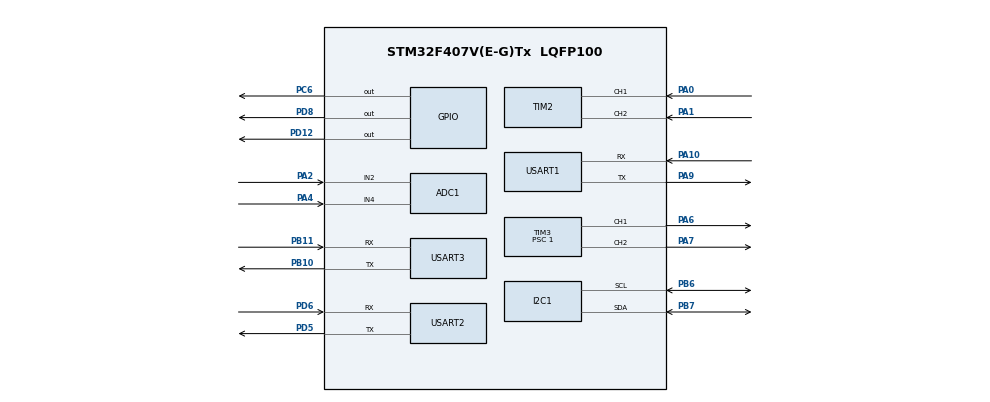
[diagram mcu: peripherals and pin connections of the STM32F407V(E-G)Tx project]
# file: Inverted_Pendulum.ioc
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ADC1.Channel-0\#ChannelRegularConversion=ADC_CHANNEL_2
ADC1.Channel-1\#ChannelRegularConversion=ADC_CHANNEL_4
ADC1.ContinuousConvMode=ENABLE
ADC1.DMAContinuousRequests=ENABLE
ADC1.NbrOfConversion=2
ADC1.NbrOfConversionFlag=1
ADC1.Rank-0\#ChannelRegularConversion=1
ADC1.Rank-1\#ChannelRegularConversion=2
ADC1.SamplingTime-0\#ChannelRegularConversion=ADC_SAMPLETIME_480CYCLES
ADC1.SamplingTime-1\#ChannelRegularConversion=ADC_SAMPLETIME_480CYCLES
ADC1.ScanConvMode=ENABLE
ADC1.master=1
Dma.ADC1.0.Direction=DMA_PERIPH_TO_MEMORY
Dma.ADC1.0.FIFOMode=DMA_FIFOMODE_DISABLE
Dma.ADC1.0.Instance=DMA2_Stream0
Dma.ADC1.0.MemDataAlignment=DMA_MDATAALIGN_HALFWORD
Dma.ADC1.0.MemInc=DMA_MINC_ENABLE
Dma.ADC1.0.Mode=DMA_CIRCULAR
Dma.ADC1.0.PeriphDataAlignment=DMA_PDATAALIGN_HALFWORD
Dma.ADC1.0.PeriphInc=DMA_PINC_DISABLE
Dma.ADC1.0.Priority=DMA_PRIORITY_LOW
Dma.Request0=ADC1
FREERTOS.Tasks01=defaultTask,0,128,StartDefaultTask,Default,NULL,Dynamic,NULL,NULL;Usart1_tx,-3,128,usart1_tx_f,Default,NULL,Dynamic,NULL,NULL;Usart1_rx,-3,128,usart1_rx_f,Default,NULL,Dynamic,NULL,NULL;Usart2_tx,-3,128,usart2_tx_f,Default,NULL,Dynamic,NULL,NULL;Usart2_rx,-3,128,usart2_rx_f,Default,NULL,Dynamic,NULL,NULL;Usart3_tx,-3,128,usart3_tx_f,Default,NULL,Dynamic,NULL,NULL;Usart3_rx,-3,128,usart3_rx_f,Default,NULL,Dynamic,NULL,NULL;OLED,-3,128,oled_f,Default,NULL,Dynamic,NULL,NULL;Angle_sensor,-3,128,angle_sensor_f,Default,NULL,Dynamic,NULL,NULL;Motor_run,-3,128,motor_run_f,Default,NULL,Dynamic,NULL,NULL;Motor_sensor,-3,128,motor_sensor_f,Default,NULL,Dynamic,NULL,NULL;Balance,-3,128,balance_f,Default,NULL,Dynamic,NULL,NULL
FREERTOS.configCHECK_FOR_STACK_OVERFLOW=2
FREERTOS.configGENERATE_RUN_TIME_STATS=1
FREERTOS.configRECORD_STACK_HIGH_ADDRESS=1
FREERTOS.configUSE_COUNTING_SEMAPHORES=1
FREERTOS.configUSE_MALLOC_FAILED_HOOK=1
FREERTOS.configUSE_STATS_FORMATTING_FUNCTIONS=1
FREERTOS.configUSE_TRACE_FACILITY=1
Mcu.Family=STM32F4
Mcu.Name=STM32F407V(E-G)Tx
Mcu.Package=LQFP100
NVIC.DMA2_Stream0_IRQn=true\:5\:0\:false\:false\:true\:true\:false\:true\:true
NVIC.PriorityGroup=NVIC_PRIORITYGROUP_4
NVIC.TIM1_UP_TIM10_IRQn=true\:15\:0\:false\:false\:true\:false\:false\:true\:true
NVIC.TimeBase=TIM1_UP_TIM10_IRQn
NVIC.TimeBaseIP=TIM1
PA0-WKUP.Signal=S_TIM2_CH1_ETR
PA1.Signal=S_TIM2_CH2
PA10.Mode=Asynchronous
PA10.Signal=USART1_RX
PA13.Mode=Serial_Wire
PA13.Signal=SYS_JTMS-SWDIO
PA14.Mode=Serial_Wire
PA14.Signal=SYS_JTCK-SWCLK
PA2.Signal=ADCx_IN2
PA4.Signal=ADCx_IN4
PA6.Signal=S_TIM3_CH1
PA7.Signal=S_TIM3_CH2
PA9.Mode=Asynchronous
PA9.Signal=USART1_TX
PB10.Mode=Asynchronous
PB10.Signal=USART3_TX
PB11.Mode=Asynchronous
PB11.Signal=USART3_RX
PB6.Mode=I2C
PB6.Signal=I2C1_SCL
PB7.Mode=I2C
PB7.Signal=I2C1_SDA
PC6.Signal=GPIO_Output
PD12.Signal=GPIO_Output
PD5.Mode=Asynchronous
PD5.Signal=USART2_TX
PD6.Mode=Asynchronous
PD6.Signal=USART2_RX
PD8.Signal=GPIO_Output
PH0-OSC_IN.Mode=HSE-External-Oscillator
PH0-OSC_IN.Signal=RCC_OSC_IN
PH1-OSC_OUT.Mode=HSE-External-Oscillator
PH1-OSC_OUT.Signal=RCC_OSC_OUT
ProjectManager.HeapSize=0x200
ProjectManager.StackSize=0x400
ProjectManager.TargetToolchain=MDK-ARM V5.32
RCC.48MHZClocksFreq_Value=84000000
RCC.AHBFreq_Value=168000000
RCC.APB1CLKDivider=RCC_HCLK_DIV4
RCC.APB1Freq_Value=42000000
RCC.APB1TimFreq_Value=84000000
RCC.APB2CLKDivider=RCC_HCLK_DIV2
RCC.APB2Freq_Value=84000000
RCC.APB2TimFreq_Value=168000000
RCC.CortexFreq_Value=168000000
RCC.HCLKFreq_Value=168000000
RCC.HSE_VALUE=8000000
RCC.HSI_VALUE=16000000
RCC.LSE_VALUE=32768
RCC.PLLM=4
RCC.PLLN=168
RCC.PLLSourceVirtual=RCC_PLLSOURCE_HSE
RCC.SYSCLKFreq_VALUE=168000000
RCC.SYSCLKSource=RCC_SYSCLKSOURCE_PLLCLK
RCC.VCOOutputFreq_Value=336000000
SH.ADCx_IN2.0=ADC1_IN2,IN2
SH.ADCx_IN4.0=ADC1_IN4,IN4
SH.S_TIM2_CH1_ETR.0=TIM2_CH1,Encoder_Interface
SH.S_TIM2_CH2.0=TIM2_CH2,Encoder_Interface
SH.S_TIM3_CH1.0=TIM3_CH1,PWM Generation1 CH1
SH.S_TIM3_CH2.0=TIM3_CH2,PWM Generation2 CH2
TIM2.EncoderMode=TIM_ENCODERMODE_TI12
TIM3.AutoReloadPreload=TIM_AUTORELOAD_PRELOAD_ENABLE
TIM3.Channel-PWM\ Generation1\ CH1=TIM_CHANNEL_1
TIM3.Channel-PWM\ Generation2\ CH2=TIM_CHANNEL_2
TIM3.OC1Preload_PWM=ENABLE
TIM3.Period=2099
TIM3.Prescaler=1
USART1.VirtualMode=VM_ASYNC
USART2.VirtualMode=VM_ASYNC
USART3.VirtualMode=VM_ASYNC
VP_FREERTOS_VS_CMSIS_V1.Mode=CMSIS_V1
VP_SYS_VS_tim1.Mode=TIM1
VP_TIM3_VS_ClockSourceINT.Mode=Internal
board=custom

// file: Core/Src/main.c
/* USER CODE BEGIN Header */
/**
  ******************************************************************************
  * @file           : main.c
  * @brief          : Main program body
  ******************************************************************************
  * @attention
  *
  * Copyright (c) 2026 STMicroelectronics.
  * All rights reserved.
  *
  * This software is licensed under terms that can be found in the LICENSE file
  * in the root directory of this software component.
  * If no LICENSE file comes with this software, it is provided AS-IS.
  *
  ******************************************************************************
  */
  /* USER CODE END Header */
  /* Includes ------------------------------------------------------------------*/
  #include "main.h"
  #include "cmsis_os.h"
  #include "adc.h"
  #include "dma.h"
  #include "i2c.h"
  #include "tim.h"
  #include "usart.h"
  #include "gpio.h"
  #include "led.h"
  #include "my_oled.h"

  /* Private includes ----------------------------------------------------------*/
  /* USER CODE BEGIN Includes */
  #include "my_usart.h"
  /* USER CODE END Includes */

  /* Private typedef -----------------------------------------------------------*/

  /* Private define ------------------------------------------------------------*/

  /* Private macro -------------------------------------------------------------*/

  /* Private variables ---------------------------------------------------------*/

  /* USER CODE BEGIN PV */
  volatile uint16_t adc_raw[ADC_CHANNEL_NUM];
  /* USER CODE END PV */

  /* Private function prototypes -----------------------------------------------*/
  void SystemClock_Config(void);
  void MX_FREERTOS_Init(void);

  /* Private user code ---------------------------------------------------------*/

  /**
    * @brief  The application entry point.
    * @retval int
    */
  int main(void)
  {

    /* MCU Configuration--------------------------------------------------------*/

    /* Reset of all peripherals, Initializes the Flash interface and the Systick. */
    HAL_Init();

    /* Configure the system clock */
    SystemClock_Config();

    /* Initialize all configured peripherals */
    MX_GPIO_Init();
    MX_DMA_Init();
    MX_TIM2_Init();
    MX_TIM3_Init();
    MX_USART1_UART_Init();
    MX_ADC1_Init();
    MX_I2C1_Init();
    MX_USART2_UART_Init();
    MX_USART3_UART_Init();
    /* USER CODE BEGIN 2 */
	HAL_Delay(2000);
    HAL_UART_Transmit(&huart2, (uint8_t *)"[MAIN] HW OK\r\n", 14, 100);

    HAL_ADC_Start_DMA(&hadc1, (uint32_t*)adc_raw, ADC_CHANNEL_NUM);

    USART_Init();
    HAL_UART_Transmit(&huart2, (uint8_t *)"[MAIN] USART_Init OK\r\n", 23, 100);

    MX_FREERTOS_Init();
    HAL_UART_Transmit(&huart2, (uint8_t *)"[MAIN] RTOS Init OK\r\n", 22, 100);
    /* USER CODE END 2 */

    /* Start scheduler */
    osKernelStart();

    /* We should never get here as control is now taken by the scheduler */

    /* Infinite loop */
    while (1)
    {

    }
  }

  /**
    * @brief System Clock Configuration
    * @retval None
    */
  void SystemClock_Config(void)
  {
    RCC_OscInitTypeDef RCC_OscInitStruct = {0};
    RCC_ClkInitTypeDef RCC_ClkInitStruct = {0};

    /** Configure the main internal regulator voltage
    */
    __HAL_RCC_PWR_CLK_ENABLE();
    __HAL_PWR_VOLTAGESCALING_CONFIG(PWR_REGULATOR_VOLTAGE_SCALE1);

    /** Initializes the CPU, AHB and APB busses clocks
    */
    RCC_OscInitStruct.OscillatorType = RCC_OSCILLATORTYPE_HSE;
    RCC_OscInitStruct.HSEState = RCC_HSE_ON;
    RCC_OscInitStruct.PLL.PLLState = RCC_PLL_ON;
    RCC_OscInitStruct.PLL.PLLSource = RCC_PLLSOURCE_HSE;
    RCC_OscInitStruct.PLL.PLLM = 4;
    RCC_OscInitStruct.PLL.PLLN = 168;
    RCC_OscInitStruct.PLL.PLLP = RCC_PLLP_DIV2;
    RCC_OscInitStruct.PLL.PLLQ = 4;
    if (HAL_RCC_OscConfig(&RCC_OscInitStruct) != HAL_OK)
    {
      Error_Handler();
    }

    /** Initializes the CPU, AHB and APB busses clocks
    */
    RCC_ClkInitStruct.ClockType = RCC_CLOCKTYPE_HCLK|RCC_CLOCKTYPE_SYSCLK
                                |RCC_CLOCKTYPE_PCLK1|RCC_CLOCKTYPE_PCLK2;
    RCC_ClkInitStruct.SYSCLKSource = RCC_SYSCLKSOURCE_PLLCLK;
    RCC_ClkInitStruct.AHBCLKDivider = RCC_SYSCLK_DIV1;
    RCC_ClkInitStruct.APB1CLKDivider = RCC_HCLK_DIV4;
    RCC_ClkInitStruct.APB2CLKDivider = RCC_HCLK_DIV2;

    if (HAL_RCC_ClockConfig(&RCC_ClkInitStruct, FLASH_LATENCY_5) != HAL_OK)
    {
      Error_Handler();
    }
  }

  /**
    * @brief  Period elapsed callback in non blocking mode
    * @retval None
    */
  void HAL_TIM_PeriodElapsedCallback(TIM_HandleTypeDef *htim)
  {
    if (htim->Instance == TIM1)
    {
      HAL_IncTick();
    }
  }

  /**
    * @brief  This function is executed in case of error occurrence.
    * @retval None
    */
  void Error_Handler(void)
  {
    /* USER CODE BEGIN Error_Handler_Debug */
    __disable_irq();
    while (1)
    {
      LED_Toggle(LED3_Pin);
      HAL_Delay(500);
    }
    /* USER CODE END Error_Handler_Debug */
  }

  #ifdef USE_FULL_ASSERT
  /**
    * @brief  Reports the name of the source file and the source line number
    *         where the assert_param error has occurred.
    * @retval None
    */
  void assert_failed(uint8_t *file, uint32_t line)
  {
  }
  #endif /* USE_FULL_ASSERT */

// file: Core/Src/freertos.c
/* USER CODE BEGIN Header */
/**
  ******************************************************************************
  * File Name          : freertos.c
  * Description        : Code for freertos applications
  ******************************************************************************
  * @attention
  *
  * Copyright (c) 2026 STMicroelectronics.
  * All rights reserved.
  *
  * This software is licensed under terms that can be found in the LICENSE file
  * in the root directory of this software component.
  * If no LICENSE file comes with this software, it is provided AS-IS.
  *
  ******************************************************************************
  */
/* USER CODE END Header */

#include "FreeRTOS.h"
#include "task.h"
#include "main.h"
#include "cmsis_os.h"

/* USER CODE BEGIN Includes */
#include "tim.h"
#include "usart.h"
#include <stdio.h>
#include <string.h>
/*新增头文件*/
#include "angle_sensor.h"
#include "balance.h"
#include "motor.h"
#include "my_oled.h"
#include "my_usart.h"

/* USER CODE END Includes */

/* USER CODE BEGIN Variables */
//extern	uint16_t adc_raw[ADC_CHANNEL_NUM];
/* USER CODE END Variables */
osThreadId defaultTaskHandle;
osThreadId Usart1_txHandle;
osThreadId Usart1_rxHandle;
osThreadId Usart2_txHandle;
osThreadId Usart2_rxHandle;
osThreadId Usart3_txHandle;
osThreadId Usart3_rxHandle;
osThreadId OLEDHandle;
osThreadId Angle_sensorHandle;
osThreadId Motor_runHandle;
osThreadId Motor_sensorHandle;
osThreadId BalanceHandle;
osThreadId SetHandle;

/*这里的函数声明我们放在了各自的代码文件里面，已经上名已经引入了头文件*/
//void StartDefaultTask(void const * argument); //注意:如果没有其它任务运行，务必把这个和它的函数定义的注释取消掉！！！
//void usart1_tx_f(void const * argument);
//void usart1_rx_f(void const * argument);
//void usart2_tx_f(void const * argument);
//void usart2_rx_f(void const * argument);
//void usart3_tx_f(void const * argument);
//void usart3_rx_f(void const * argument);
//void oled_f(void const * argument);
//void angle_sensor_f(void const * argument);
//void motor_run_f(void const * argument);
//void motor_sensor_f(void const * argument);
//void balance_f(void const * argument);

void MX_FREERTOS_Init(void); /* (MISRA C 2004 rule 8.1) */

/* GetIdleTaskMemory prototype (linked to static allocation support) */
void vApplicationGetIdleTaskMemory( StaticTask_t **ppxIdleTaskTCBBuffer, StackType_t **ppxIdleTaskStackBuffer, uint32_t *pulIdleTaskStackSize );

/* Hook prototypes */
void configureTimerForRunTimeStats(void);
unsigned long getRunTimeCounterValue(void);
void vApplicationStackOverflowHook(xTaskHandle xTask, signed char *pcTaskName);
void vApplicationMallocFailedHook(void);

/* USER CODE BEGIN 1 */
/* Functions needed when configGENERATE_RUN_TIME_STATS is on */
__weak void configureTimerForRunTimeStats(void)
{

}

__weak unsigned long getRunTimeCounterValue(void)
{
return 0;
}
/* USER CODE END 1 */

/* USER CODE BEGIN 4 */
__weak void vApplicationStackOverflowHook(xTaskHandle xTask, signed char *pcTaskName)
{
   /* Run time stack overflow checking is performed if
   configCHECK_FOR_STACK_OVERFLOW is defined to 1 or 2. This hook function is
   called if a stack overflow is detected. */
}
/* USER CODE END 4 */

/* USER CODE BEGIN 5 */
__weak void vApplicationMallocFailedHook(void)
{
   /* vApplicationMallocFailedHook() will only be called if
   configUSE_MALLOC_FAILED_HOOK is set to 1 in FreeRTOSConfig.h. It is a hook
   function that will get called if a call to pvPortMalloc() fails.
   pvPortMalloc() is called internally by the kernel whenever a task, queue,
   timer or semaphore is created. It is also called by various parts of the
   demo application. If heap_1.c or heap_2.c are used, then the size of the
   heap available to pvPortMalloc() is defined by configTOTAL_HEAP_SIZE in
   FreeRTOSConfig.h, and the xPortGetFreeHeapSize() API function can be used
   to query the size of free heap space that remains (although it does not
   provide information on how the remaining heap might be fragmented). */
}
/* USER CODE END 5 */

/* USER CODE BEGIN GET_IDLE_TASK_MEMORY */
static StaticTask_t xIdleTaskTCBBuffer;
static StackType_t xIdleStack[configMINIMAL_STACK_SIZE];

void vApplicationGetIdleTaskMemory( StaticTask_t **ppxIdleTaskTCBBuffer, StackType_t **ppxIdleTaskStackBuffer, uint32_t *pulIdleTaskStackSize )
{
  *ppxIdleTaskTCBBuffer = &xIdleTaskTCBBuffer;
  *ppxIdleTaskStackBuffer = &xIdleStack[0];
  *pulIdleTaskStackSize = configMINIMAL_STACK_SIZE;
  /* place for user code */
}
/* USER CODE END GET_IDLE_TASK_MEMORY */

void MX_FREERTOS_Init(void) {

  /* USER CODE BEGIN RTOS_QUEUES */

	xSensorQueue = xQueueCreate(1, sizeof(Sensor_Data_Typedef));
	if(xSensorQueue == NULL) {
		Error_Handler();
	}

	//创建电机数据的队列
	xMotorCmdQueue = xQueueCreate(5, sizeof(MotorCmd_t));			//电机命令
	if(xMotorCmdQueue == NULL) {
		Error_Handler();
	}

	xMotorFeedbackQueue	= xQueueCreate(1, sizeof(MotorFeedback_t));		//电机编码器数据
	if(xMotorFeedbackQueue == NULL) {
		Error_Handler();
	}

	PID_Queue_Init();
  /* add queues, ... */
  /* USER CODE END RTOS_QUEUES */

  /* Create the thread(s) */
  /* definition and creation of defaultTask */
//  osThreadDef(defaultTask, StartDefaultTask, osPriorityNormal, 0, 128);
//  defaultTaskHandle = osThreadCreate(osThread(defaultTask), NULL);

  /* definition and creation of Usart1_tx */
//  osThreadDef(Usart1_tx, usart1_tx_f, osPriorityIdle, 0, 256);
//  Usart1_txHandle = osThreadCreate(osThread(Usart1_tx), NULL);

  /* definition and creation of Usart1_rx */
//  osThreadDef(Usart1_rx, usart1_rx_f, osPriorityLow, 0, 256);
//  Usart1_rxHandle = osThreadCreate(osThread(Usart1_rx), NULL);

  /* definition and creation of Usart2_tx */
	osThreadDef(Usart2_tx, usart2_tx_f, osPriorityAboveNormal, 0, 512);
	Usart2_txHandle = osThreadCreate(osThread(Usart2_tx), NULL);

//  /* definition and creation of Usart2_rx */
//	osThreadDef(Usart2_rx, usart2_rx_f, osPriorityIdle, 0, 256);
//	Usart2_rxHandle = osThreadCreate(osThread(Usart2_rx), NULL);

//  /* definition and creation of Usart3_tx */
//  osThreadDef(Usart3_tx, usart3_tx_f, osPriorityIdle, 0, 128);
//  Usart3_txHandle = osThreadCreate(osThread(Usart3_tx), NULL);

  /* definition and creation of Usart3_rx */
  osThreadDef(Usart3_rx, usart3_rx_f, osPriorityAboveNormal, 0, 256);
  Usart3_rxHandle = osThreadCreate(osThread(Usart3_rx), NULL);

  /* definition and creation of OLED */
  osThreadDef(OLED, oled_f, osPriorityNormal, 0, 512);
  OLEDHandle = osThreadCreate(osThread(OLED), NULL);

  /* definition and creation of Angle_sensor */
  osThreadDef(Angle_sensor, angle_sensor_f, osPriorityHigh, 0, 256);
  Angle_sensorHandle = osThreadCreate(osThread(Angle_sensor), NULL);

  /* definition and creation of Motor_run */
	osThreadDef(Motor_run, motor_run_f, osPriorityHigh, 0, 256);
	Motor_runHandle = osThreadCreate(osThread(Motor_run), NULL);

  /* definition and creation of Motor_sensor */
  osThreadDef(Motor_sensor, motor_sensor_f, osPriorityHigh, 0, 256);
  Motor_sensorHandle = osThreadCreate(osThread(Motor_sensor), NULL);

  /* definition and creation of Balance */
  osThreadDef(Balance, balance_f, osPriorityHigh, 0, 512);
  BalanceHandle = osThreadCreate(osThread(Balance), NULL);
  PID_Task_Init();

//
//	osThreadDef(Set, set_f, osPriorityIdle, 0, 256);****************************************
//  SetHandle = osThreadCreate(osThread(Set), NULL);

}

//void StartDefaultTask(void const * argument)
//{
//  /* USER CODE BEGIN StartDefaultTask */
//  /* Infinite loop */
//  for(;;)
//  {
//    osDelay(1);
//  }
//  /* USER CODE END StartDefaultTask */
//}
